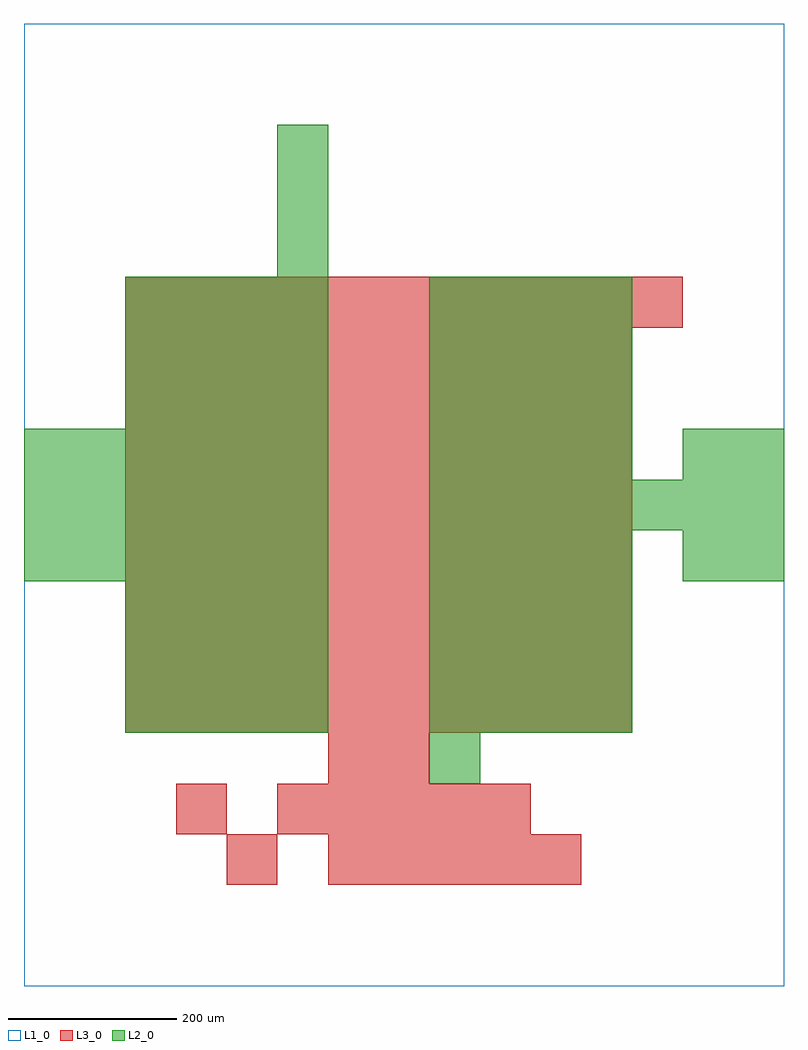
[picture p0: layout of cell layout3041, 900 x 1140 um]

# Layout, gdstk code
import gdstk
lib = gdstk.Library(unit=1e-6, precision=1e-09)
def R(c, l, rs):  # rectangles x0, y0, x1, y1
    for r in rs: c.add(gdstk.rectangle(r[:2], r[2:], *l))
def A(c, l, x, y, w, h, nx, ny, dx, dy):  # array of equal rectangles
    R(c, l, [(x+i*dx, y+j*dy, x+i*dx+w, y+j*dy+h) for i in range(nx) for j in range(ny)])
L1_0 = (1, 0)
L2_0 = (2, 0)
L3_0 = (3, 0)

layout3041 = lib.new_cell('layout3041')
R(layout3041, L1_0, [(0,0,900,1140)])
A(layout3041, L2_0, 120, 300, 60, 60, 4, 3, 60, 60)
A(layout3041, L2_0, 480, 300, 60, 60, 4, 4, 60, 60)
A(layout3041, L2_0, 0, 480, 60, 60, 6, 3, 60, 60)
A(layout3041, L2_0, 480, 540, 60, 60, 7, 1, 60, 0)
A(layout3041, L2_0, 480, 600, 60, 60, 4, 4, 60, 60)
A(layout3041, L2_0, 120, 660, 60, 60, 4, 3, 60, 60)
A(layout3041, L2_0, 300, 840, 60, 60, 1, 3, 0, 60)
R(layout3041, L2_0, [(480,240,540,300), (780,480,840,540), (840,480,900,540), (780,600,840,660), (840,600,900,660)])
A(layout3041, L3_0, 360, 120, 60, 60, 5, 1, 60, 0)
A(layout3041, L3_0, 300, 180, 60, 60, 5, 1, 60, 0)
A(layout3041, L3_0, 120, 300, 60, 60, 10, 8, 60, 60)
A(layout3041, L3_0, 120, 780, 60, 60, 11, 1, 60, 0)
R(layout3041, L3_0, [(240,120,300,180), (180,180,240,240), (360,240,420,300), (420,240,480,300)])

lib.write_gds('layout3041.gds')
